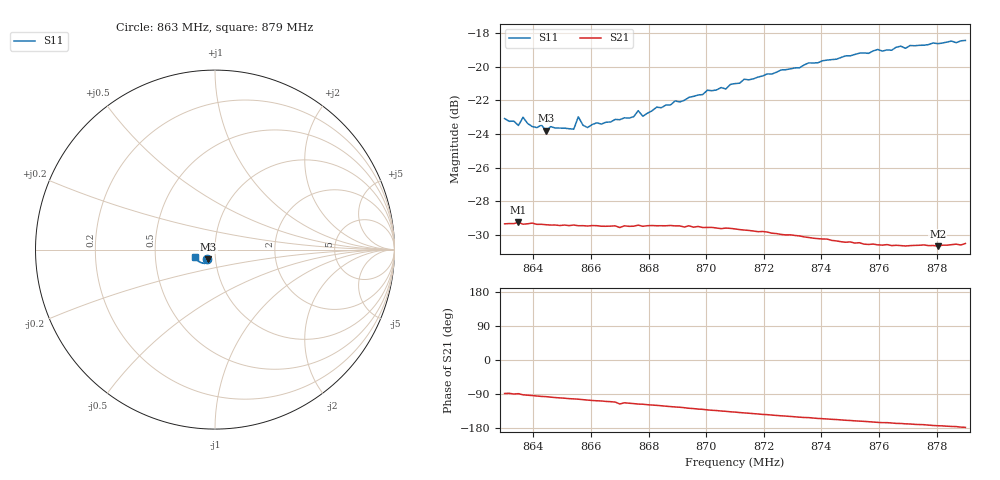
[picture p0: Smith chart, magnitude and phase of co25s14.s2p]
# HZ S RI R 50
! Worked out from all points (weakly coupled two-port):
!   101 points, 863 MHz to 879 MHz, reference 50 ohm
!   highest |S21| = -29.24 dB at 863.48 MHz (marker M1); lowest = -30.7 dB at 878.04 MHz (marker M2)
!   lowest |S11| = -23.8 dB at 864.44 MHz (marker M3), VSWR 1.14, Z = 46.2 - j4.92 ohm
!   |S11| at or under -10 dB: start of sweep to end of sweep
!   S12 and S22 are empty: the file has one direction only
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8.63e8  -0.0448 -0.0539  0.000976 -0.0342  0 0  0 0
8.6348e8  -0.0395 -0.054  0.000696 -0.0345  0 0  0 0
8.6364e8  -0.0456 -0.054  -0.00114 -0.0341  0 0  0 0
8.6396e8  -0.0395 -0.0534  -0.00233 -0.0343  0 0  0 0
8.6428e8  -0.038 -0.0553  -0.00364 -0.0339  0 0  0 0
8.6444e8  -0.0368 -0.053  -0.00397 -0.0337  0 0  0 0
8.646e8  -0.038 -0.0544  -0.00473 -0.0336  0 0  0 0
8.654e8  -0.0342 -0.0555  -0.00744 -0.0331  0 0  0 0
8.6556e8  -0.0409 -0.058  -0.00783 -0.0328  0 0  0 0
8.6572e8  -0.0344 -0.0575  -0.00851 -0.0327  0 0  0 0
8.6588e8  -0.0344 -0.0563  -0.00916 -0.0324  0 0  0 0
8.6732e8  -0.0332 -0.062  -0.0137 -0.0307  0 0  0 0
8.6764e8  -0.0354 -0.065  -0.015 -0.0304  0 0  0 0
8.678e8  -0.0339 -0.0626  -0.0151 -0.03  0 0  0 0
8.6828e8  -0.0348 -0.0673  -0.0167 -0.0293  0 0  0 0
8.6844e8  -0.0351 -0.0669  -0.0173 -0.029  0 0  0 0
8.71e8  -0.0488 -0.0745  -0.0243 -0.0223  0 0  0 0
8.7372e8  -0.0682 -0.0765  -0.0277 -0.014  0 0  0 0
8.7596e8  -0.0903 -0.0669  -0.0285 -0.00785  0 0  0 0
8.7644e8  -0.0924 -0.0629  -0.0286 -0.007  0 0  0 0
8.7804e8  -0.1062 -0.0489  -0.0291 -0.00338  0 0  0 0
8.79e8  -0.1129 -0.0393  -0.0299 -0.00114  0 0  0 0
